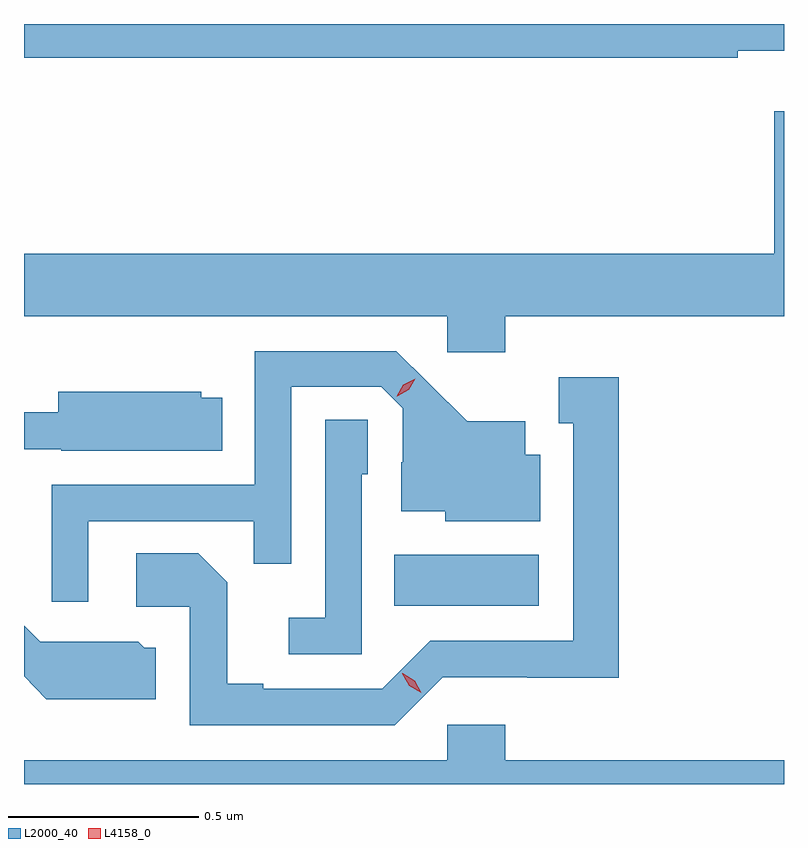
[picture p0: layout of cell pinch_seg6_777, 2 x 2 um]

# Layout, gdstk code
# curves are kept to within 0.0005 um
import gdstk
lib = gdstk.Library(unit=1e-6, precision=1e-09)
def R(c, l, rs):  # rectangles x0, y0, x1, y1
    for r in rs: c.add(gdstk.rectangle(r[:2], r[2:], *l))
def P(c, l, *ps):  # polygons
    for p in ps: c.add(gdstk.Polygon(p, *l))
L2000_40 = (2000, 40)
L4158_0 = (4158, 0)

pinch_seg6_777 = lib.new_cell('pinch_seg6_777')
R(pinch_seg6_777, L2000_40, [(619.552,947.906,619.933,948.04)])
P(pinch_seg6_777, L2000_40, [(620.456,949.367),(620.578,949.367),(620.578,949.437),(618.578,949.437),(618.578,949.348),(620.456,949.348)],
  [(619.844,948.668),(620.578,948.668),(620.578,949.207),(620.552,949.207),(620.552,948.832),(618.578,948.832),(618.578,948.668),(619.692,948.668),(619.692,948.573),(619.844,948.573)],
  [(618.747,948.129),(619.183,948.129),(619.183,948.016),(619.281,948.016),(619.281,948.483),(619.518,948.483),(619.575,948.426),(619.575,948.284),(619.571,948.284),(619.571,948.155),(619.686,948.155),(619.686,948.128),(619.936,948.128),(619.936,948.304),(619.897,948.304),(619.897,948.391),(619.745,948.391),(619.558,948.576),(619.185,948.576),(619.185,948.225),(618.651,948.225),(618.651,947.916),(618.747,947.916)],
  [(619.68,947.718),(619.902,947.718),(619.902,947.717),(620.143,947.717),(620.143,948.508),(619.985,948.508),(619.985,948.387),(620.024,948.387),(620.024,947.814),(619.647,947.814),(619.521,947.688),(619.207,947.688),(619.207,947.701),(619.113,947.701),(619.113,947.968),(619.037,948.044),(618.873,948.044),(618.873,947.904),(619.014,947.904),(619.014,947.592),(619.554,947.592)],
  [(619.1,948.454),(619.044,948.454),(619.044,948.469),(618.668,948.469),(618.668,948.415),(618.578,948.415),(618.578,948.318),(618.676,948.318),(618.676,948.314),(619.1,948.314)],
  [(619.467,948.252),(619.482,948.252),(619.482,948.395),(619.371,948.395),(619.371,947.875),(619.275,947.875),(619.275,947.778),(619.467,947.778)],
  [(618.925,947.796),(618.894,947.796),(618.878,947.812),(618.744,947.812),(618.744,947.811),(618.621,947.811),(618.578,947.854),(618.578,947.72),(618.637,947.66),(618.925,947.66)],
  [(620.578,947.5),(619.844,947.5),(619.844,947.593),(619.692,947.593),(619.692,947.5),(618.578,947.5),(618.578,947.437),(620.578,947.437)])
P(pinch_seg6_777, L4158_0, [(619.624,947.677),(619.592,947.695),(619.574,947.727),(619.574,947.728),(619.575,947.728),(619.606,947.709),(619.624,947.677),(619.624,947.677)],
  [(619.559,948.458),(619.559,948.458),(619.576,948.488),(619.607,948.503),(619.607,948.503),(619.607,948.503),(619.59,948.474),(619.56,948.458)])

lib.write_gds('pinch_seg6_777.gds')
